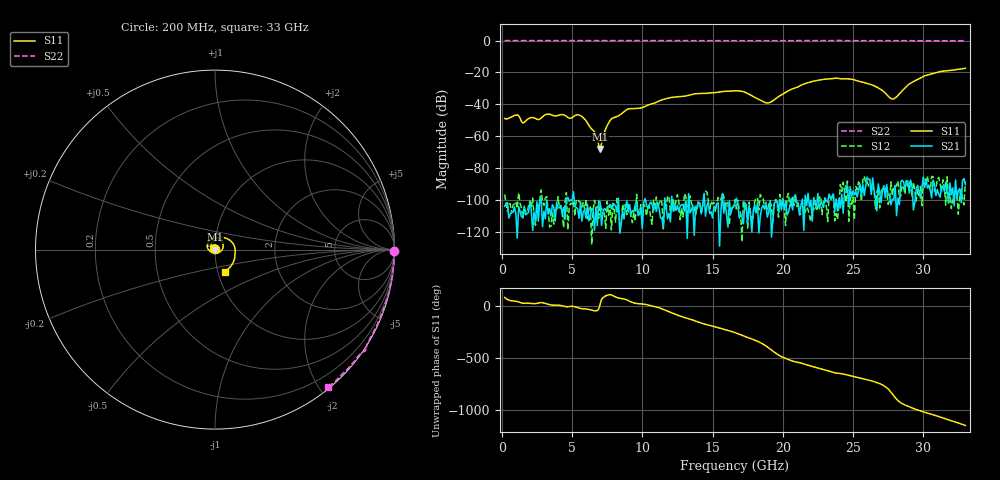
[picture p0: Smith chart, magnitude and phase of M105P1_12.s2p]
# GHZ S RI R 50
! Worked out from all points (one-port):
!   329 points, 200 MHz to 33 GHz, reference 50 ohm
!   lowest |S11| = -67.9 dB at 7 GHz (marker M1), VSWR 1.00, Z = 50 + j0.0134 ohm
!   |S11| at or under -10 dB: start of sweep to end of sweep
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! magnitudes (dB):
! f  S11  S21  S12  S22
! 200 MHz  -48.8  -103.9  -96.5  0.0
! 1.1 GHz  -46.6  -123.8  -105.2  0.0
! 1.5 GHz  -51.7  -111.0  -111.6  0.0
! 2 GHz  -48.5  -101.5  -100.5  0.0
! 3.3 GHz  -46.1  -108.9  -106.0  0.0
! 5.7 GHz  -47.6  -113.2  -104.4  0.0
! 6.6 GHz  -57.3  -119.0  -100.1  0.0
! 7 GHz  -67.9  -101.2  -102.6  0.0
! 7.3 GHz  -57.6  -105.3  -108.8  0.0
! 7.8 GHz  -49.1  -105.2  -118.7  0.0
! 9 GHz  -42.9  -107.6  -102.0  0.0
! 11.2 GHz  -37.9  -105.3  -102.0  0.0
! 16.6 GHz  -31.5  -101.9  -99.7  0.0
! 18.9 GHz  -39.2  -110.7  -106.7  0.0
! 22.1 GHz  -25.6  -113.2  -106.2  0.0
! 25 GHz  -24.4  -94.2  -98.3  0.0
! 26.6 GHz  -28.7  -99.0  -105.5  0.0
! 27.6 GHz  -35.7  -97.1  -100.6  -0.1
! 28 GHz  -36.0  -90.7  -91.7  0.0
! 29 GHz  -27.3  -95.6  -88.3  -0.1
! 30.1 GHz  -22.1  -92.2  -86.5  -0.1
! 33 GHz  -17.4  -90.3  -88.3  -0.1
